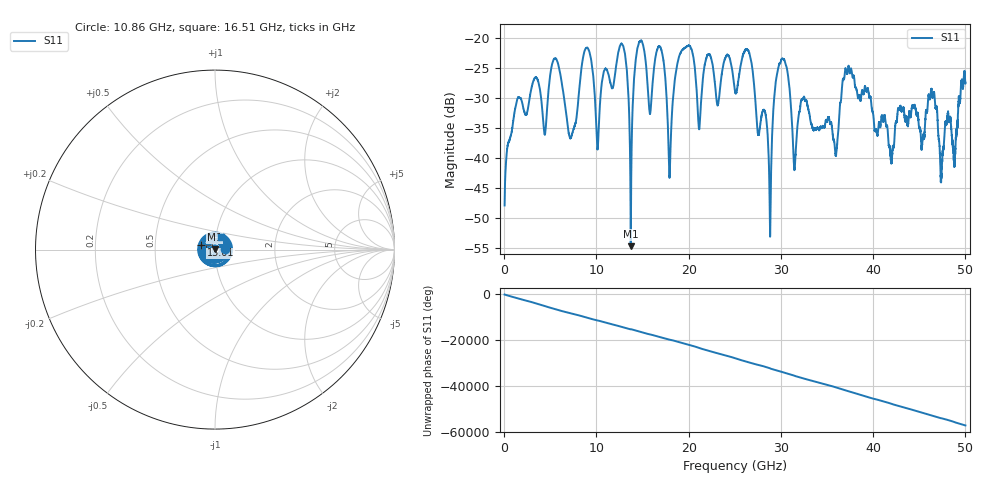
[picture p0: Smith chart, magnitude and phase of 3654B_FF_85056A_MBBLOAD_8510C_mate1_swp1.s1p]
!Created with skrf (http://scikit-rf.org).
# Hz S RI R 50.0
!freq ReS11 ImS11
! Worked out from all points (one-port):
!   10001 points, 45 MHz to 50 GHz, reference 50 ohm
!   lowest |S11| = -54.7 dB at 13.72 GHz (marker M1), VSWR 1.00, Z = 49.8 + j0.0727 ohm
!   |S11| at or under -10 dB: start of sweep to end of sweep
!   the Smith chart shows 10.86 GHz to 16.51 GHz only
!   S11 on the Smith chart (normalised r, x): 10.86 GHz: 1.11, +0.01; 13.01 GHz: 0.86, +0.04; 16.51 GHz: 1.06, +0.15
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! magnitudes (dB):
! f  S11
! 45 MHz  -47.9
! 1.504 GHz  -29.9
! 6.289 GHz  -28.0
! 7.293 GHz  -36.3
! 9.057 GHz  -21.7
! 10.14 GHz  -38.4
! 10.86 GHz  -25.4
! 12.53 GHz  -21.3
! 13.01 GHz  -22.0
! 13.72 GHz  -54.7
! 14.56 GHz  -21.1
! 15.81 GHz  -32.6
! 16.51 GHz  -22.3
! 17.93 GHz  -43.0
! 18.78 GHz  -24.2
! 21.14 GHz  -35.2
! 25.02 GHz  -28.8
! 26.52 GHz  -22.3
! 28.81 GHz  -51.3
! 30.26 GHz  -23.5
! 31.27 GHz  -36.1
! 35.94 GHz  -39.5
! 37.51 GHz  -25.7
! 41.92 GHz  -40.3
! 43.76 GHz  -34.6
! 46.45 GHz  -29.9
! 47.44 GHz  -41.5
! 50 GHz  -27.4
